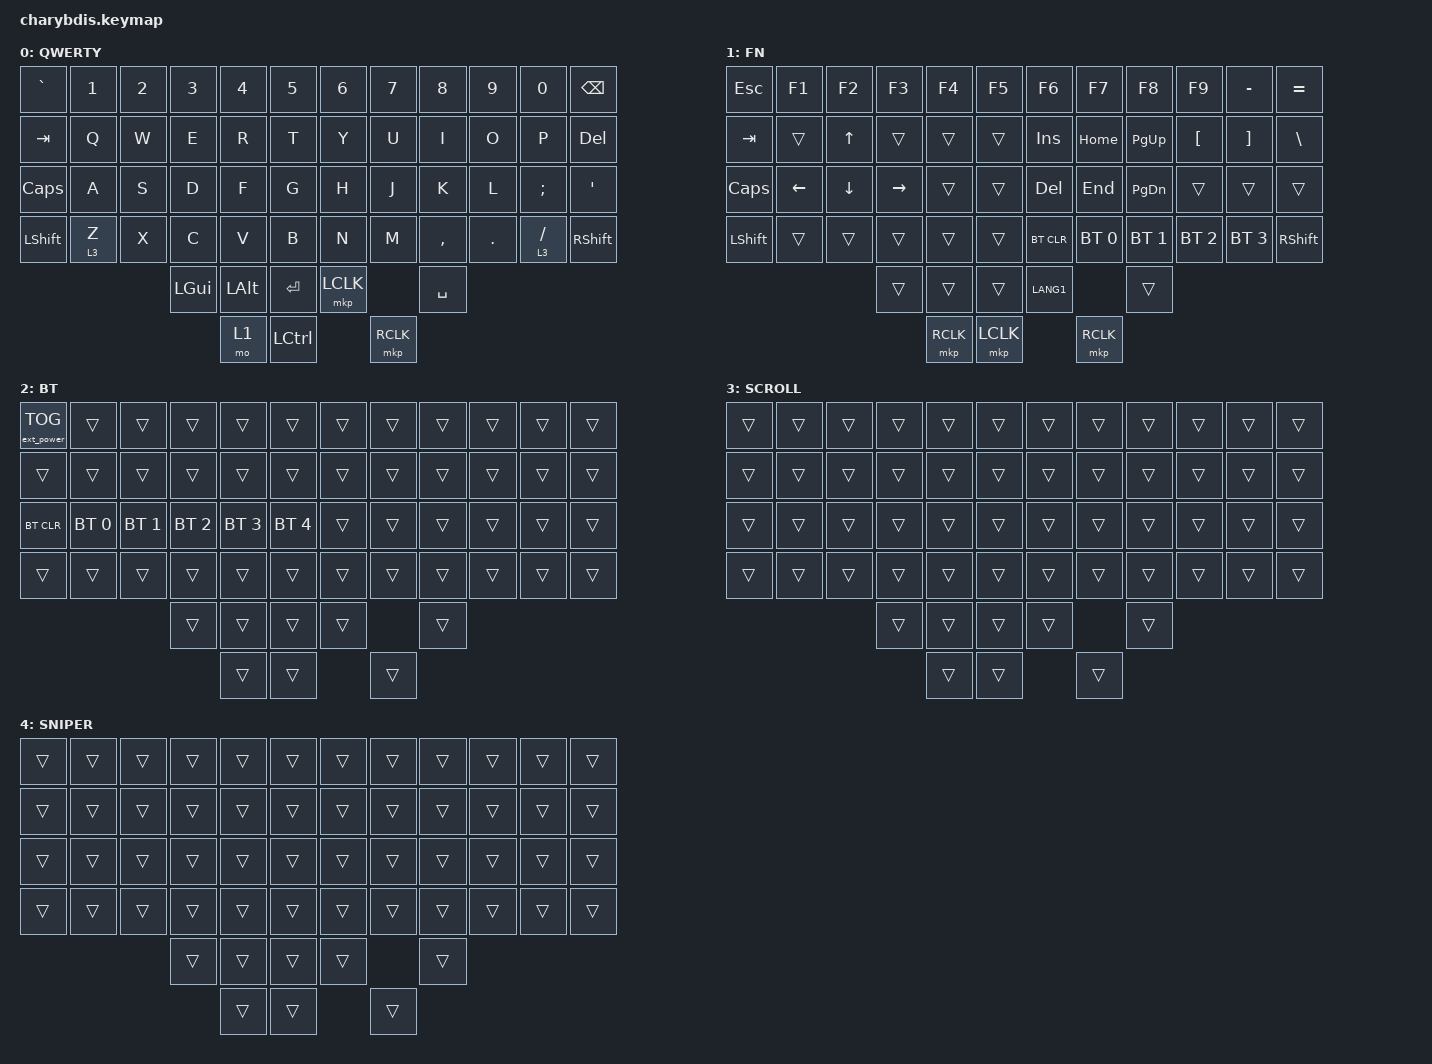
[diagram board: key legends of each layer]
      #include <behaviors/mouse_keys.dtsi>
#include <behaviors.dtsi>
#include <dt-bindings/zmk/bt.h>
#include <dt-bindings/zmk/ext_power.h>
#include <dt-bindings/zmk/keys.h>
#include <dt-bindings/zmk/mouse.h>
#include <dt-bindings/zmk/pointing.h>

// Layer definitions
// 0: QWERTY (기본)
// 1: LOWER  (숫자/기호/방향키)
// 2: RAISE  (블루투스/기능키)
// 3: SCROLL (트랙볼 스크롤 모드)
// 4: SNIPER (트랙볼 정밀 모드)

/ {
    /* 트랙볼 — 일반 커서 이동 (레이어 0, 1, 2) */
    trackball_listener {
        compatible = "zmk,input-behavior-listener";
        device = <&vtrackball>;
        layers = <0 2>;
        evt-type = <INPUT_EV_REL>;
        x-input-code = <INPUT_REL_X>;
        y-input-code = <INPUT_REL_Y>;
        scale-multiplier = <1>;
        scale-divisor = <2>;
    };

    /* 트랙볼 — 정밀 모드 (레이어 4) */
    trackball_snipe_listener {
        compatible = "zmk,input-behavior-listener";
        device = <&vtrackball>;
        layers = <4>;
        evt-type = <INPUT_EV_REL>;
        x-input-code = <INPUT_REL_X>;
        y-input-code = <INPUT_REL_Y>;
        scale-multiplier = <1>;
        scale-divisor = <4>;
    };

    /* 트랙볼 — 스크롤 모드 (레이어 3) */
    trackball_scroll_listener {
        compatible = "zmk,input-behavior-listener";
        device = <&vtrackball>;
        layers = <1 3>;
        evt-type = <INPUT_EV_REL>;
        x-input-code = <INPUT_REL_MISC>;
        y-input-code = <INPUT_REL_WHEEL>;
        y-invert;
        bindings = <&ib_wheel_scaler 1 14>;
    };

    ib_wheel_scaler: ib_wheel_scaler {
        compatible = "zmk,input-behavior-scaler";
        #binding-cells = <2>;
        evt-type = <INPUT_EV_REL>;
        input-code = <INPUT_REL_WHEEL>;
    };

    ib_toggle_layer: ib_toggle_layer {
        compatible = "zmk,input-behavior-tog-layer";
        #binding-cells = <1>;
        time-to-live-ms = <750>;
    };

    combos {
        compatible = "zmk,combos";

        caps_word {
            bindings = <&caps_word>;
            key-positions = <31 28>;
        };

        rh_leftClick {
            bindings = <&mkp LCLK>;
            key-positions = <43 44>;
        };

        rh_rightClick {
            bindings = <&mkp RCLK>;
            key-positions = <44 45>;
        };

        lh_leftClick {
            bindings = <&mkp LCLK>;
            key-positions = <40 39>;
        };

        lh_rightClick {
            bindings = <&mkp RCLK>;
            key-positions = <38 39>;
        };
    };

    keymap {
        compatible = "zmk,keymap";

        /* ── 레이어 0: QWERTY 기본 ─────────────────────────────────
           Z 홀드 → 스크롤,  / 홀드 → 스크롤
           썸: MO1(Lower) / Space / LCtrl  |  Enter / Backspace
           트랙볼 버튼: 우클릭 / 좌클릭  |  MO2(Raise)            */
        default_layer {
            label = "QWERTY";
            bindings = <
&kp GRAVE  &kp N1   &kp N2  &kp N3  &kp N4  &kp N5      &kp N6  &kp N7  &kp N8     &kp N9   &kp N0    &kp BSPC
&kp TAB    &kp Q    &kp W   &kp E   &kp R   &kp T       &kp Y   &kp U   &kp I      &kp O    &kp P     &kp DEL
&kp CAPS   &kp A    &kp S   &kp D   &kp F   &kp G       &kp H   &kp J   &kp K      &kp L    &kp SEMI  &kp SQT
&kp LSHFT  &lt 3 Z  &kp X   &kp C   &kp V   &kp B       &kp N   &kp M   &kp COMMA  &kp DOT  &lt 3 FSLH  &kp RSHFT
                             &kp LGUI  &kp LALT  &kp RET  &mkp LCLK  &kp SPACE
                                       &mo 1      &kp LCTRL  &mkp RCLK
            >;
        };

        /* ── 레이어 1: FN (기능키 / 방향키 / 숫자) ─────────────────
           썸: BT_CLR / BT0 / BT1  |  BT2 / BT3
           트랙볼 버튼: 우클릭 / 좌클릭  |  RCtrl                */
        lower_layer {
            label = "FN";
            bindings = <
&kp ESC    &kp F1    &kp F2    &kp F3    &kp F4    &kp F5        &kp F6   &kp F7    &kp F8    &kp F9    &kp MINUS  &kp EQUAL
&kp TAB    &trans    &kp UP    &trans    &trans    &trans        &kp INS  &kp HOME  &kp PG_UP &kp LBKT  &kp RBKT   &kp BSLH
&kp CAPS   &kp LEFT  &kp DOWN  &kp RIGHT &trans    &trans        &kp DEL  &kp END   &kp PG_DN &trans    &trans     &trans
&kp LSHFT  &trans    &trans    &trans    &trans    &trans        &bt BT_CLR  &bt BT_SEL 0  &bt BT_SEL 1  &bt BT_SEL 2  &bt BT_SEL 3  &kp RSHFT
                               &trans  &trans  &trans  &kp LANG1  &trans
                                       &mkp RCLK  &mkp LCLK  &mkp RCLK
            >;
        };

        /* ── 레이어 2: RAISE (블루투스 / 전원) ─────────────────────*/
        raise_layer {
            label = "BT";
            bindings = <
&ext_power EP_TOG  &trans        &trans        &trans        &trans        &trans           &trans  &trans  &trans  &trans  &trans  &trans
&trans             &trans        &trans        &trans        &trans        &trans           &trans  &trans  &trans  &trans  &trans  &trans
&bt BT_CLR         &bt BT_SEL 0  &bt BT_SEL 1  &bt BT_SEL 2  &bt BT_SEL 3  &bt BT_SEL 4    &trans  &trans  &trans  &trans  &trans  &trans
&trans             &trans        &trans        &trans        &trans        &trans           &trans  &trans  &trans  &trans  &trans  &trans
                                               &trans        &trans        &trans           &trans  &trans
                                                             &trans        &trans           &trans
            >;
        };

        /* ── 레이어 3: SCROLL (트랙볼 → 스크롤) ───────────────────*/
        scroll_layer {
            label = "SCROLL";
            bindings = <
&trans  &trans  &trans  &trans  &trans  &trans    &trans  &trans  &trans  &trans  &trans  &trans
&trans  &trans  &trans  &trans  &trans  &trans    &trans  &trans  &trans  &trans  &trans  &trans
&trans  &trans  &trans  &trans  &trans  &trans    &trans  &trans  &trans  &trans  &trans  &trans
&trans  &trans  &trans  &trans  &trans  &trans    &trans  &trans  &trans  &trans  &trans  &trans
                        &trans  &trans  &trans    &trans  &trans
                                &trans  &trans    &trans
            >;
        };

        /* ── 레이어 4: SNIPER (트랙볼 정밀 모드) ───────────────────*/
        sniper_layer {
            label = "SNIPER";
            bindings = <
&trans  &trans  &trans  &trans  &trans  &trans    &trans  &trans  &trans  &trans  &trans  &trans
&trans  &trans  &trans  &trans  &trans  &trans    &trans  &trans  &trans  &trans  &trans  &trans
&trans  &trans  &trans  &trans  &trans  &trans    &trans  &trans  &trans  &trans  &trans  &trans
&trans  &trans  &trans  &trans  &trans  &trans    &trans  &trans  &trans  &trans  &trans  &trans
                        &trans  &trans  &trans    &trans  &trans
                                &trans  &trans    &trans
            >;
        };
    };
};
